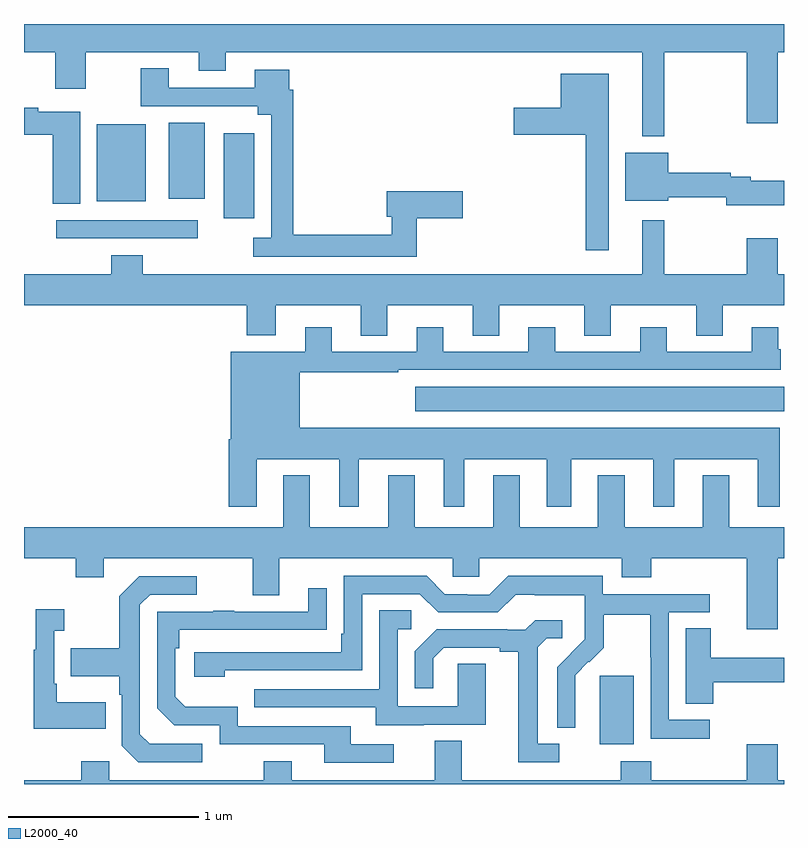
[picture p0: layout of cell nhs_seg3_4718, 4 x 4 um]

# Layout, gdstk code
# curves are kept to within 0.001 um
import gdstk
lib = gdstk.Library(unit=1e-6, precision=1e-09)
def R(c, l, rs):  # rectangles x0, y0, x1, y1
    for r in rs: c.add(gdstk.rectangle(r[:2], r[2:], *l))
def P(c, l, *ps):  # polygons
    for p in ps: c.add(gdstk.Polygon(p, *l))
L2000_40 = (2000, 40)

nhs_seg3_4718 = lib.new_cell('nhs_seg3_4718')
R(nhs_seg3_4718, L2000_40, [(368.03,694.61,368.209,694.971), (367.059,696.362,369,696.49), (365.169,697.272,365.914,697.368), (366.05,697.377,366.211,697.825), (365.384,697.466,365.641,697.873), (365.762,697.481,365.95,697.879)])
P(nhs_seg3_4718, L2000_40, [(368.369,698.252),(368.804,698.252),(368.804,697.878),(368.968,697.878),(368.968,698.252),(369,698.252),(369,698.4),(365,698.4),(365,698.252),(365.165,698.252),(365.165,698.058),(365.325,698.058),(365.325,698.252),(365.921,698.252),(365.921,698.153),(366.061,698.153),(366.061,698.252),(368.255,698.252),(368.255,697.808),(368.369,697.808)],
  [(367.067,697.378),(367.309,697.378),(367.309,697.52),(366.908,697.52),(366.908,697.385),(366.935,697.385),(366.935,697.292),(366.416,697.292),(366.416,698.054),(366.397,698.054),(366.397,698.158),(366.215,698.158),(366.215,698.064),(365.761,698.064),(365.761,698.167),(365.614,698.167),(365.614,697.968),(366.23,697.968),(366.23,697.922),(366.3,697.922),(366.3,697.276),(366.207,697.276),(366.207,697.176),(367.067,697.176)],
  [(368.077,698.137),(367.826,698.137),(367.826,697.959),(367.578,697.959),(367.578,697.817),(367.956,697.817),(367.956,697.209),(368.077,697.209)],
  [(365.296,697.939),(365.076,697.939),(365.076,697.959),(365,697.959),(365,697.817),(365.15,697.817),(365.15,697.453),(365.296,697.453)],
  [(369,697.575),(368.824,697.575),(368.824,697.596),(368.72,697.596),(368.72,697.616),(368.392,697.616),(368.392,697.723),(368.165,697.723),(368.165,697.469),(368.392,697.469),(368.392,697.488),(368.696,697.488),(368.696,697.445),(369,697.445)],
  [(366.913,696.92),(367.361,696.92),(367.361,696.76),(367.501,696.76),(367.501,696.92),(367.949,696.92),(367.949,696.76),(368.089,696.76),(368.089,696.92),(368.537,696.92),(368.537,696.76),(368.677,696.76),(368.677,696.92),(369,696.92),(369,697.084),(368.968,697.084),(368.968,697.273),(368.804,697.273),(368.804,697.084),(368.369,697.084),(368.369,697.366),(368.255,697.366),(368.255,697.084),(365.624,697.084),(365.624,697.183),(365.459,697.183),(365.459,697.084),(365,697.084),(365,696.92),(366.173,696.92),(366.173,696.761),(366.325,696.761),(366.325,696.92),(366.773,696.92),(366.773,696.76),(366.913,696.76)],
  [(366.226,696.11),(366.659,696.11),(366.659,695.859),(366.763,695.859),(366.763,696.11),(367.208,696.11),(367.208,695.859),(367.318,695.859),(367.318,696.11),(367.751,696.11),(367.751,695.859),(367.879,695.859),(367.879,696.11),(368.312,696.11),(368.312,695.859),(368.422,695.859),(368.422,696.11),(368.861,696.11),(368.861,695.859),(368.977,695.859),(368.977,696.274),(366.451,696.274),(366.451,696.567),(366.971,696.567),(366.971,696.579),(368.984,696.579),(368.984,696.687),(368.971,696.687),(368.971,696.805),(368.831,696.805),(368.831,696.675),(368.383,696.675),(368.383,696.805),(368.243,696.805),(368.243,696.675),(367.795,696.675),(367.795,696.805),(367.655,696.805),(367.655,696.675),(367.207,696.675),(367.207,696.805),(367.067,696.805),(367.067,696.675),(366.619,696.675),(366.619,696.805),(366.479,696.805),(366.479,696.676),(366.089,696.676),(366.089,696.214),(366.077,696.214),(366.077,695.859),(366.226,695.859)],
  [(368.968,695.588),(369,695.588),(369,695.752),(368.713,695.752),(368.713,696.025),(368.573,696.025),(368.573,695.752),(368.161,695.752),(368.161,696.025),(368.021,696.025),(368.021,695.752),(367.609,695.752),(367.609,696.025),(367.469,696.025),(367.469,695.752),(367.057,695.752),(367.057,696.025),(366.917,696.025),(366.917,695.752),(366.505,695.752),(366.505,696.025),(366.365,696.025),(366.365,695.752),(365,695.752),(365,695.588),(365.272,695.588),(365.272,695.489),(365.419,695.489),(365.419,695.588),(366.203,695.588),(366.203,695.394),(366.343,695.394),(366.343,695.588),(367.257,695.588),(367.257,695.49),(367.395,695.49),(367.395,695.588),(368.147,695.588),(368.147,695.489),(368.3,695.489),(368.3,695.588),(368.804,695.588),(368.804,695.214),(368.968,695.214)],
  [(368.608,694.737),(368.394,694.737),(368.394,695.304),(368.608,695.304),(368.608,695.4),(368.046,695.4),(368.046,695.497),(367.549,695.497),(367.449,695.397),(367.334,695.397),(367.334,695.4),(367.215,695.4),(367.119,695.496),(366.684,695.496),(366.684,695.191),(366.671,695.191),(366.671,695.094),(365.895,695.094),(365.895,694.964),(366.056,694.964),(366.056,694.998),(366.78,694.998),(366.78,695.4),(367.083,695.4),(367.179,695.304),(367.494,695.304),(367.587,695.397),(367.687,695.397),(367.687,695.393),(367.95,695.393),(367.95,695.259),(367.952,695.259),(367.952,695.162),(367.806,695.014),(367.806,694.696),(367.902,694.696),(367.901,694.973),(367.971,695.043),(367.974,695.04),(368.051,695.117),(368.051,695.292),(368.296,695.292),(368.296,695.068),(368.298,695.068),(368.298,694.639),(368.608,694.639)],
  [(365.938,694.611),(365.661,694.611),(365.61,694.662),(365.61,695.343),(365.664,695.397),(365.908,695.397),(365.908,695.493),(365.607,695.493),(365.502,695.387),(365.502,695.115),(365.245,695.115),(365.245,694.967),(365.502,694.967),(365.502,694.871),(365.514,694.871),(365.514,694.602),(365.601,694.515),(365.938,694.515)],
  [(366.946,694.608),(366.721,694.608),(366.721,694.704),(366.126,694.704),(366.126,694.807),(365.849,694.807),(365.796,694.86),(365.796,695.114),(365.816,695.114),(365.816,695.211),(366.593,695.212),(366.593,695.431),(366.497,695.431),(366.497,695.307),(366.107,695.307),(366.107,695.312),(365.995,695.312),(365.995,695.307),(365.7,695.307),(365.7,694.8),(365.79,694.71),(366.03,694.71),(366.03,694.608),(366.581,694.608),(366.581,694.512),(366.946,694.512)],
  [(365.429,694.831),(365.173,694.831),(365.173,694.927),(365.16,694.927),(365.16,695.207),(365.212,695.207),(365.212,695.32),(365.063,695.32),(365.063,695.107),(365.052,695.107),(365.052,694.691),(365.429,694.691)],
  [(367.105,694.713),(367.429,694.713),(367.429,695.033),(367.284,695.033),(367.284,694.809),(366.966,694.809),(366.966,695.214),(367.039,695.214),(367.039,695.315),(366.87,695.315),(366.87,694.899),(366.211,694.899),(366.211,694.803),(366.851,694.803),(366.851,694.709),(367.105,694.709)],
  [(367.816,694.611),(367.705,694.611),(367.705,695.119),(367.752,695.166),(367.834,695.166),(367.834,695.263),(367.69,695.263),(367.638,695.211),(367.544,695.211),(367.544,695.214),(367.172,695.214),(367.056,695.098),(367.056,694.905),(367.153,694.905),(367.153,695.061),(367.21,695.118),(367.505,695.118),(367.505,695.096),(367.601,695.096),(367.601,694.515),(367.816,694.515)],
  [(368.627,694.936),(369,694.936),(369,695.065),(368.614,695.065),(368.614,695.219),(368.483,695.219),(368.483,694.822),(368.627,694.822)],
  [(369,694.42),(368.968,694.42),(368.968,694.609),(368.804,694.609),(368.804,694.42),(368.3,694.42),(368.3,694.519),(368.14,694.519),(368.14,694.42),(367.303,694.42),(367.303,694.628),(367.163,694.628),(367.163,694.42),(366.409,694.42),(366.409,694.519),(366.262,694.519),(366.262,694.42),(365.448,694.42),(365.448,694.519),(365.302,694.519),(365.302,694.42),(365,694.42),(365,694.4),(369,694.4)])

lib.write_gds('nhs_seg3_4718.gds')
